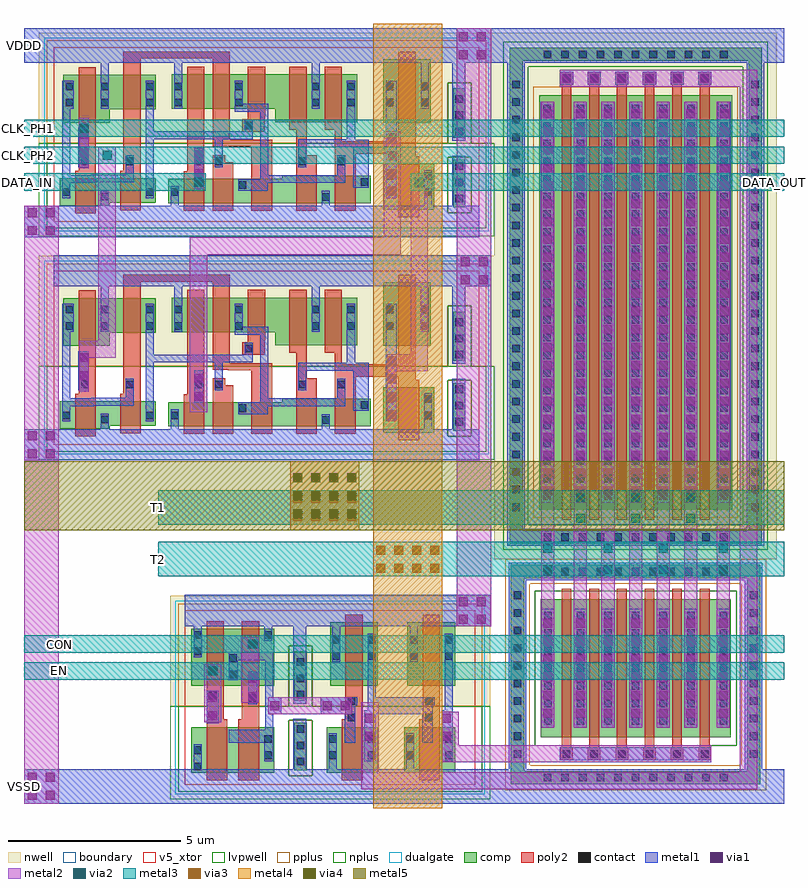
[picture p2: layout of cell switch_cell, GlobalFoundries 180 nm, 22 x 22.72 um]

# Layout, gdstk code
import gdstk
lib = gdstk.Library(unit=1e-6, precision=5e-09)
def R(c, l, rs):  # rectangles x0, y0, x1, y1
    for r in rs: c.add(gdstk.rectangle(r[:2], r[2:], *l))
def A(c, l, x, y, w, h, nx, ny, dx, dy):  # array of equal rectangles
    R(c, l, [(x+i*dx, y+j*dy, x+i*dx+w, y+j*dy+h) for i in range(nx) for j in range(ny)])
def P(c, l, *ps):  # polygons
    for p in ps: c.add(gdstk.Polygon(p, *l))
boundary = (0, 0)
nwell = (21, 0)
comp = (22, 0)
poly2 = (30, 0)
pplus = (31, 0)
nplus = (32, 0)
contact = (33, 0)
metal1 = (34, 0)
via1 = (35, 0)
metal2 = (36, 0)
via2 = (38, 0)
via3 = (40, 0)
via4 = (41, 0)
metal3 = (42, 0)
metal4 = (46, 0)
dualgate = (55, 0)
metal5 = (81, 0)
v5_xtor = (112, 1)
lvpwell = (204, 0)

gf180mcu_fd_sc_mcu9t5v0_ = lib.new_cell('gf180mcu_fd_sc_mcu9t5v0__filltie')
R(gf180mcu_fd_sc_mcu9t5v0_, boundary, [(0,0,1.12,5.04)])
R(gf180mcu_fd_sc_mcu9t5v0_, nwell, [(-0.43,2.265,1.55,5.47)])
R(gf180mcu_fd_sc_mcu9t5v0_, comp, [(0.36,0.41,0.72,1.785), (0.36,2.425,0.72,3.855)])
R(gf180mcu_fd_sc_mcu9t5v0_, pplus, [(0.2,0.25,0.88,1.865)])
P(gf180mcu_fd_sc_mcu9t5v0_, pplus, [(-0.2,2.265),(-0.2,5.24),(1.32,5.24),(1.32,2.265),(0.88,2.265),(0.88,4.015),(0.2,4.015),(0.2,2.265)])
P(gf180mcu_fd_sc_mcu9t5v0_, nplus, [(-0.2,-0.2),(-0.2,2.265),(0.2,2.265),(0.2,4.015),(0.88,4.015),(0.88,1.865),(0.2,1.865),(0.2,0.25),(0.88,0.25),(0.88,4.015),(0.88,2.265),(1.32,2.265),(1.32,-0.2)])
A(gf180mcu_fd_sc_mcu9t5v0_, contact, 0.43, 0.555, 0.22, 0.22, 1, 3, 0, 0.47)
A(gf180mcu_fd_sc_mcu9t5v0_, contact, 0.43, 2.495, 0.22, 0.22, 1, 3, 0, 0.47)
P(gf180mcu_fd_sc_mcu9t5v0_, metal1, [(0,-0.45),(0,0.45),(0.33,0.45),(0.33,1.91),(0.71,1.91),(0.71,0.45),(1.12,0.45),(1.12,-0.45)],
  [(0.33,2.34),(0.33,4.59),(0,4.59),(0,5.49),(1.12,5.49),(1.12,4.59),(0.71,4.59),(0.71,2.34)])
R(gf180mcu_fd_sc_mcu9t5v0_, dualgate, [(-0.28,-0.28,1.4,5.32)])
R(gf180mcu_fd_sc_mcu9t5v0_, v5_xtor, [(0,0,1.12,5.04)])
R(gf180mcu_fd_sc_mcu9t5v0_, lvpwell, [(-0.43,-0.43,1.55,2.265)])
gf180mcu_fd_sc_mcu9t5v0_.add(gdstk.Label('VSS', (0.56,-0.45), layer=34, texttype=10))
gf180mcu_fd_sc_mcu9t5v0_.add(gdstk.Label('VDD', (0.56,5.49), layer=34, texttype=10))
gf180mcu_fd_sc_mcu9t5v0_.add(gdstk.Label('& Vendor GLOBALFOUNDRIES', (0,2), layer=63, texttype=63))
gf180mcu_fd_sc_mcu9t5v0_.add(gdstk.Label('& Product GF018hv5v_green_sc9', (0,1.5), layer=63, texttype=63))
gf180mcu_fd_sc_mcu9t5v0_.add(gdstk.Label('& Version 2015q2v2', (0,1), layer=63, texttype=63))
gf180mcu_fd_sc_mcu9t5v0_.add(gdstk.Label('& Metric 1.00', (0,0.5), layer=63, texttype=63))

c_gf180mcu_fd_sc_mcu9t5v0_ = lib.new_cell('gf180mcu_fd_sc_mcu9t5v0__inv_1')
R(c_gf180mcu_fd_sc_mcu9t5v0_, boundary, [(0,0,2.24,5.04)])
R(c_gf180mcu_fd_sc_mcu9t5v0_, nwell, [(-0.43,2.265,2.67,5.47)])
R(c_gf180mcu_fd_sc_mcu9t5v0_, comp, [(0.18,0.345,1.66,1.665), (0.28,2.865,1.66,4.695)])
P(c_gf180mcu_fd_sc_mcu9t5v0_, poly2, [(0.62,0.125),(0.62,1.885),(0.72,1.885),(0.72,4.915),(1.22,4.915),(1.22,0.125)])
R(c_gf180mcu_fd_sc_mcu9t5v0_, pplus, [(-0.2,2.265,2.44,5.24)])
R(c_gf180mcu_fd_sc_mcu9t5v0_, nplus, [(-0.2,-0.2,2.44,2.265)])
R(c_gf180mcu_fd_sc_mcu9t5v0_, contact, [(0.25,0.74,0.47,0.96), (1.37,0.74,1.59,0.96), (0.25,1.21,0.47,1.43), (1.37,1.21,1.59,1.43), (0.79,1.835,1.01,2.055), (0.79,2.305,1.01,2.525), (0.35,3.61,0.57,3.83), (1.37,3.61,1.59,3.83), (0.35,4.08,0.57,4.3), (1.37,4.08,1.59,4.3)])
P(c_gf180mcu_fd_sc_mcu9t5v0_, metal1, [(0.71,1.21),(0.71,2.53),(1.07,2.53),(1.07,2.3),(1.015,2.3),(1.015,1.21)],
  [(1.27,0.68),(1.27,2.15),(1.365,2.15),(1.365,4.36),(1.595,4.36),(1.595,0.68)],
  [(0,-0.45),(0,0.45),(0.245,0.45),(0.245,1.49),(0.475,1.49),(0.475,0.45),(2.24,0.45),(2.24,-0.45)],
  [(0.345,3.55),(0.345,4.59),(0,4.59),(0,5.49),(2.24,5.49),(2.24,4.59),(0.575,4.59),(0.575,3.55)])
R(c_gf180mcu_fd_sc_mcu9t5v0_, dualgate, [(-0.28,-0.28,2.52,5.32)])
R(c_gf180mcu_fd_sc_mcu9t5v0_, v5_xtor, [(0,0,2.24,5.04)])
R(c_gf180mcu_fd_sc_mcu9t5v0_, lvpwell, [(-0.43,-0.43,2.67,2.265)])
c_gf180mcu_fd_sc_mcu9t5v0_.add(gdstk.Label('I', (0.84,1.96), layer=34, texttype=10))
c_gf180mcu_fd_sc_mcu9t5v0_.add(gdstk.Label('VDD', (1.12,5.49), layer=34, texttype=10))
c_gf180mcu_fd_sc_mcu9t5v0_.add(gdstk.Label('VSS', (1.12,-0.45), layer=34, texttype=10))
c_gf180mcu_fd_sc_mcu9t5v0_.add(gdstk.Label('ZN', (1.4,1.96), layer=34, texttype=10))
c_gf180mcu_fd_sc_mcu9t5v0_.add(gdstk.Label('& Vendor GLOBALFOUNDRIES', (0,2), layer=63, texttype=63))
c_gf180mcu_fd_sc_mcu9t5v0_.add(gdstk.Label('& Product GF018hv5v_green_sc9', (0,1.5), layer=63, texttype=63))
c_gf180mcu_fd_sc_mcu9t5v0_.add(gdstk.Label('& Version 2015q2v2', (0,1), layer=63, texttype=63))
c_gf180mcu_fd_sc_mcu9t5v0_.add(gdstk.Label('& Metric 1.00', (0,0.5), layer=63, texttype=63))
c_gf180mcu_fd_sc_mcu9t5v0_.add(gdstk.Label('VNW', (0.345,3.92), layer=21, texttype=10))
c_gf180mcu_fd_sc_mcu9t5v0_.add(gdstk.Label('VPW', (0.34,-0.085), layer=204, texttype=10))

c_gf180mcu_fd_sc_mcu9t5v0__ = lib.new_cell('gf180mcu_fd_sc_mcu9t5v0__nand2_1')
R(c_gf180mcu_fd_sc_mcu9t5v0__, boundary, [(0,0,2.8,5.04)])
R(c_gf180mcu_fd_sc_mcu9t5v0__, nwell, [(-0.43,2.265,3.23,5.47)])
R(c_gf180mcu_fd_sc_mcu9t5v0__, comp, [(0.185,0.345,2.585,1.665), (0.185,2.865,2.585,4.51)])
P(c_gf180mcu_fd_sc_mcu9t5v0__, poly2, [(0.625,0.125),(0.625,4.73),(1.125,4.73),(1.125,1.885),(1.225,1.885),(1.225,0.125)],
  [(1.545,0.125),(1.545,1.885),(1.645,1.885),(1.645,4.73),(2.145,4.73),(2.145,0.125)])
R(c_gf180mcu_fd_sc_mcu9t5v0__, pplus, [(-0.2,2.265,3,5.24)])
R(c_gf180mcu_fd_sc_mcu9t5v0__, nplus, [(-0.2,-0.2,3,2.265)])
R(c_gf180mcu_fd_sc_mcu9t5v0__, contact, [(0.255,0.415,0.475,0.635), (2.295,0.74,2.515,0.96), (0.255,0.885,0.475,1.105), (2.295,1.21,2.515,1.43), (1.835,2.39,2.055,2.61), (0.695,2.475,0.915,2.695), (1.275,3.08,1.495,3.3), (1.275,3.55,1.495,3.77), (0.255,3.75,0.475,3.97), (0.255,4.22,0.475,4.44), (2.295,4.22,2.515,4.44)])
R(c_gf180mcu_fd_sc_mcu9t5v0__, metal1, [(0.635,1.77,0.975,2.71), (1.83,2.33,2.09,3.27)])
P(c_gf180mcu_fd_sc_mcu9t5v0__, metal1, [(2.29,0.68),(2.29,1.21),(1.27,1.21),(1.27,1.59),(2.32,1.59),(2.32,3.6),(1.53,3.6),(1.53,3.02),(1.27,3.02),(1.27,3.83),(2.55,3.83),(2.55,0.68)],
  [(0,-0.45),(0,0.45),(0.25,0.45),(0.25,1.165),(0.48,1.165),(0.48,0.45),(2.8,0.45),(2.8,-0.45)],
  [(0.25,3.69),(0.25,4.59),(0,4.59),(0,5.49),(2.8,5.49),(2.8,4.59),(2.52,4.59),(2.52,4.16),(2.29,4.16),(2.29,4.59),(0.48,4.59),(0.48,3.69)])
R(c_gf180mcu_fd_sc_mcu9t5v0__, dualgate, [(-0.28,-0.28,3.08,5.32)])
R(c_gf180mcu_fd_sc_mcu9t5v0__, v5_xtor, [(0,0,2.8,5.04)])
R(c_gf180mcu_fd_sc_mcu9t5v0__, lvpwell, [(-0.43,-0.43,3.23,2.265)])
c_gf180mcu_fd_sc_mcu9t5v0__.add(gdstk.Label('A1', (1.96,2.52), layer=34, texttype=10))
c_gf180mcu_fd_sc_mcu9t5v0__.add(gdstk.Label('A2', (0.84,1.96), layer=34, texttype=10))
c_gf180mcu_fd_sc_mcu9t5v0__.add(gdstk.Label('VDD', (1.4,5.49), layer=34, texttype=10))
c_gf180mcu_fd_sc_mcu9t5v0__.add(gdstk.Label('VSS', (1.4,-0.45), layer=34, texttype=10))
c_gf180mcu_fd_sc_mcu9t5v0__.add(gdstk.Label('ZN', (1.96,1.4), layer=34, texttype=10))
c_gf180mcu_fd_sc_mcu9t5v0__.add(gdstk.Label('& Vendor GLOBALFOUNDRIES', (0,2), layer=63, texttype=63))
c_gf180mcu_fd_sc_mcu9t5v0__.add(gdstk.Label('& Product GF018hv5v_green_sc9', (0,1.5), layer=63, texttype=63))
c_gf180mcu_fd_sc_mcu9t5v0__.add(gdstk.Label('& Version 2015q2v2', (0,1), layer=63, texttype=63))
c_gf180mcu_fd_sc_mcu9t5v0__.add(gdstk.Label('& Metric 1.00', (0,0.5), layer=63, texttype=63))
c_gf180mcu_fd_sc_mcu9t5v0__.add(gdstk.Label('VNW', (0.345,3.92), layer=21, texttype=10))
c_gf180mcu_fd_sc_mcu9t5v0__.add(gdstk.Label('VPW', (0.34,-0.085), layer=204, texttype=10))

nfet = lib.new_cell('nfet')
R(nfet, comp, [(-0.42,0,0,4), (0,0,4.66,4), (4.66,0,5.08,4)])
P(nfet, comp, [(-1.28,-1.36),(-1.28,4.61),(-0.9,4.61),(-0.9,-0.98),(5.56,-0.98),(5.56,4.61),(-1.28,4.61),(-1.28,4.99),(5.94,4.99),(5.94,-1.36)])
A(nfet, poly2, 0.15, -0.66, 0.36, 0.36, 6, 1, 0.8, 0)
A(nfet, poly2, 0.19, -0.3, 0.28, 4.6, 6, 1, 0.8, 0)
P(nfet, pplus, [(-1.45,-1.53),(-1.45,4.44),(-0.73,4.44),(-0.73,-0.81),(5.39,-0.81),(5.39,4.44),(-1.45,4.44),(-1.45,5.16),(6.11,5.16),(6.11,-1.53)])
R(nfet, nplus, [(-0.59,-0.24,5.25,4.24)])
A(nfet, contact, -0.33, -1.28, 0.22, 0.22, 11, 2, 0.51, 5.97)
A(nfet, contact, -1.2, -0.59, 0.22, 0.22, 1, 10, 0, 0.51)
A(nfet, contact, 0.22, -0.59, 0.22, 0.22, 6, 1, 0.8, 0)
A(nfet, contact, 5.64, -0.59, 0.22, 0.22, 1, 10, 0, 0.51)
A(nfet, contact, -0.32, 0.36, 0.22, 0.22, 1, 7, 0, 0.51)
A(nfet, contact, 0.62, 0.36, 0.22, 0.22, 5, 7, 0.8, 0.51)
A(nfet, contact, 4.76, 0.36, 0.22, 0.22, 1, 7, 0, 0.51)
A(nfet, metal1, 0.14, -0.67, 0.38, 0.38, 6, 1, 0.8, 0)
A(nfet, metal1, 0.54, 0.28, 0.38, 3.44, 5, 1, 0.8, 0)
R(nfet, metal1, [(-0.4,0.28,-0.02,3.72), (4.68,0.28,5.06,3.72)])

pfet = lib.new_cell('pfet')
R(pfet, nwell, [(-1.76,-1.43,6.42,13.81)])
R(pfet, comp, [(-0.46,0,0,12), (0,0,4.66,12), (4.66,0,5.12,12)])
P(pfet, comp, [(-1.32,-0.99),(-1.32,12.99),(-0.94,12.99),(-0.94,-0.61),(5.6,-0.61),(5.6,12.99),(-1.32,12.99),(-1.32,13.37),(5.98,13.37),(5.98,-0.99)])
A(pfet, poly2, 0.19, -0.3, 0.28, 12.6, 6, 1, 0.8, 0)
A(pfet, poly2, 0.14, 12.3, 0.38, 0.38, 6, 1, 0.8, 0)
R(pfet, pplus, [(-0.63,-0.24,5.29,12.24)])
A(pfet, contact, -0.33, -0.91, 0.22, 0.22, 11, 2, 0.51, 13.98)
A(pfet, contact, -1.24, -0.04, 0.22, 0.22, 1, 25, 0, 0.51)
A(pfet, contact, 5.68, -0.04, 0.22, 0.22, 1, 25, 0, 0.51)
A(pfet, contact, -0.34, 0.28, 0.22, 0.22, 1, 23, 0, 0.51)
A(pfet, contact, 0.62, 0.28, 0.22, 0.22, 5, 23, 0.8, 0.51)
A(pfet, contact, 4.78, 0.28, 0.22, 0.22, 1, 23, 0, 0.51)
A(pfet, contact, 0.22, 12.38, 0.22, 0.22, 6, 1, 0.8, 0)
A(pfet, metal1, 0.54, 0.2, 0.38, 11.6, 5, 1, 0.8, 0)
A(pfet, metal1, 0.14, 12.3, 0.38, 0.38, 6, 1, 0.8, 0)
R(pfet, metal1, [(-0.42,0.2,-0.04,11.8), (4.7,0.2,5.08,11.8)])

switch_cell_tgate = lib.new_cell('switch_cell_tgate')
A(switch_cell_tgate, via1, 4.52, -4.1, 0.26, 0.26, 1, 6, 0, 0.52)
A(switch_cell_tgate, via1, 5.46, -4.1, 0.26, 0.26, 5, 6, 0.8, 0.52)
A(switch_cell_tgate, via1, 9.6, -4.1, 0.26, 0.26, 1, 6, 0, 0.52)
A(switch_cell_tgate, via1, 4.52, 2.33, 0.26, 0.26, 1, 22, 0, 0.52)
A(switch_cell_tgate, via1, 5.46, 2.33, 0.26, 0.26, 5, 22, 0.8, 0.52)
A(switch_cell_tgate, via1, 9.62, 2.33, 0.26, 0.26, 1, 22, 0, 0.52)
A(switch_cell_tgate, via1, 5.06, 14.28, 0.26, 0.26, 6, 1, 0.8, 0)
R(switch_cell_tgate, via1, [(-0.63,-4.77,-0.37,-4.51), (1.575,-4.77,1.835,-4.51), (-0.63,-4.25,-0.37,-3.99), (1.575,-4.25,1.835,-3.99), (-5.18,-4.17,-4.92,-3.91), (-3.385,-3.89,-3.125,-3.63), (-1.87,-3.89,-1.61,-3.63), (-1.35,-3.89,-1.09,-3.63), (-5.18,-3.65,-4.92,-3.39), (-4.025,-3.61,-3.765,-3.35), (-4.025,-3.09,-3.765,-2.83), (2.075,-1.39,2.335,-1.13), (2.595,-1.39,2.855,-1.13), (2.075,-0.87,2.335,-0.61), (2.595,-0.87,2.855,-0.61), (2.075,14.96,2.335,15.22), (2.595,14.96,2.855,15.22), (2.075,15.48,2.335,15.74), (2.595,15.48,2.855,15.74)])
R(switch_cell_tgate, via2, [(-5.18,-2.88,-4.92,-2.62), (-4.02,-2.1,-3.76,-1.84), (4.52,0.045,4.78,0.305), (6.26,0.045,6.52,0.305), (7.86,0.045,8.12,0.305), (9.6,0.045,9.86,0.305), (4.52,0.665,4.78,0.925), (6.26,0.665,6.52,0.925), (7.86,0.665,8.12,0.925), (9.6,0.665,9.86,0.925), (5.465,1.535,5.725,1.795), (7.06,1.535,7.32,1.795), (8.66,1.535,8.92,1.795), (5.465,2.155,5.725,2.415), (7.06,2.155,7.32,2.415), (8.66,2.155,8.92,2.415)])
switch_cell_tgate.add(gdstk.FlexPath([(3.36,15.1),(10.65,15.1),(10.65,1.12),(3.72,1.12),(3.72,14.74)], 0.72, ends="flush", simple_path=True, layer=32, datatype=0))  # nplus
switch_cell_tgate.add(gdstk.FlexPath([(3.015,-1),(-5.855,-1)], 0.9, ends="flush", simple_path=True, layer=34, datatype=0))  # metal1
switch_cell_tgate.add(gdstk.FlexPath([(3.015,-6.09),(-5.855,-6.09)], 1, ends="flush", simple_path=True, layer=34, datatype=0))  # metal1
switch_cell_tgate.add(gdstk.FlexPath([(-3.305,-3.76),(-3.065,-3.76)], 0.5, ends="flush", simple_path=True, layer=34, datatype=0))  # metal1
switch_cell_tgate.add(gdstk.FlexPath([(-0.34,-3.76),(1.015,-3.76)], 0.5, ends="flush", simple_path=True, layer=34, datatype=0))  # metal1
switch_cell_tgate.add(gdstk.FlexPath([(-1.93,-3.76),(-1.225,-3.76)], 0.5, ends="flush", simple_path=True, layer=34, datatype=0))  # metal1
switch_cell_tgate.add(gdstk.FlexPath([(11.485,15.35),(-5.855,15.35)], 1, ends="flush", simple_path=True, layer=34, datatype=0))  # metal1
switch_cell_tgate.add(gdstk.FlexPath([(11.485,-6.09),(3.015,-6.09)], 1, ends="flush", simple_path=True, layer=34, datatype=0))  # metal1
switch_cell_tgate.add(gdstk.FlexPath([(5,-5.15),(9.38,-5.15)], 0.38, ends="flush", simple_path=True, layer=34, datatype=0))  # metal1
switch_cell_tgate.add(gdstk.FlexPath([(3.48,15.1),(10.66,15.1),(10.66,1.12),(3.73,1.12),(3.73,14.85)], 0.5, ends="flush", simple_path=True, layer=34, datatype=0))  # metal1
switch_cell_tgate.add(gdstk.FlexPath([(3.52,0.13),(10.6,0.13),(10.6,-5.84),(3.77,-5.84),(3.77,-0.12)], 0.5, ends="flush", simple_path=True, layer=34, datatype=0))  # metal1
switch_cell_tgate.add(gdstk.FlexPath([(-5.05,-4.23),(-5.05,-2.56)], 0.5, ends="flush", simple_path=True, layer=36, datatype=0))  # metal2
switch_cell_tgate.add(gdstk.FlexPath([(-3.975,-3.67),(-3.975,-1.78)], 0.5, ends="flush", simple_path=True, layer=36, datatype=0))  # metal2
switch_cell_tgate.add(gdstk.FlexPath([(-1.03,-3.76),(-3.445,-3.76)], 0.5, ends="flush", simple_path=True, layer=36, datatype=0))  # metal2
switch_cell_tgate.add(gdstk.FlexPath([(-0.5,-5.68),(-0.5,-3.65)], 0.5, ends="flush", simple_path=True, layer=36, datatype=0))  # metal2
switch_cell_tgate.add(gdstk.FlexPath([(1.825,-4.9),(1.825,-3.93)], 0.5, ends="flush", simple_path=True, layer=36, datatype=0))  # metal2
switch_cell_tgate.add(gdstk.FlexPath([(9.38,-5.15),(1.575,-5.15)], 0.5, ends="flush", simple_path=True, layer=36, datatype=0))  # metal2
switch_cell_tgate.add(gdstk.FlexPath([(10.705,-5.93),(-0.75,-5.93)], 0.5, ends="flush", simple_path=True, layer=36, datatype=0))  # metal2
switch_cell_tgate.add(gdstk.FlexPath([(10.455,-5.68),(10.455,14.16)], 0.5, ends="flush", simple_path=True, layer=36, datatype=0))  # metal2
switch_cell_tgate.add(gdstk.FlexPath([(10.705,14.41),(5,14.41)], 0.5, ends="flush", simple_path=True, layer=36, datatype=0))  # metal2
switch_cell_tgate.add(gdstk.FlexPath([(2.515,-1.45),(2.515,15.85)], 1, ends="flush", simple_path=True, layer=36, datatype=0))  # metal2
switch_cell_tgate.add(gdstk.FlexPath([(9.73,-4.39),(9.73,13.72)], 0.38, ends="flush", simple_path=True, layer=36, datatype=0))  # metal2
switch_cell_tgate.add(gdstk.FlexPath([(8.79,-4.39),(8.79,13.72)], 0.38, ends="flush", simple_path=True, layer=36, datatype=0))  # metal2
switch_cell_tgate.add(gdstk.FlexPath([(7.99,-4.39),(7.99,13.72)], 0.38, ends="flush", simple_path=True, layer=36, datatype=0))  # metal2
switch_cell_tgate.add(gdstk.FlexPath([(7.19,-4.39),(7.19,13.72)], 0.38, ends="flush", simple_path=True, layer=36, datatype=0))  # metal2
switch_cell_tgate.add(gdstk.FlexPath([(6.39,-4.39),(6.39,13.72)], 0.38, ends="flush", simple_path=True, layer=36, datatype=0))  # metal2
switch_cell_tgate.add(gdstk.FlexPath([(5.59,-4.39),(5.59,13.72)], 0.38, ends="flush", simple_path=True, layer=36, datatype=0))  # metal2
switch_cell_tgate.add(gdstk.FlexPath([(4.65,-4.39),(4.65,13.72)], 0.38, ends="flush", simple_path=True, layer=36, datatype=0))  # metal2
switch_cell_tgate.add(gdstk.FlexPath([(11.485,0.485),(-5.855,0.485)], 1, ends="flush", simple_path=True, layer=42, datatype=0))  # metal3
switch_cell_tgate.add(gdstk.FlexPath([(11.485,1.975),(-5.855,1.975)], 1, ends="flush", simple_path=True, layer=42, datatype=0))  # metal3
switch_cell_tgate.add(gdstk.FlexPath([(11.485,-1.97),(-5.855,-1.97)], 0.5, ends="flush", simple_path=True, layer=42, datatype=0))  # metal3
switch_cell_tgate.add(gdstk.FlexPath([(11.485,-2.75),(-5.855,-2.75)], 0.5, ends="flush", simple_path=True, layer=42, datatype=0))  # metal3
switch_cell_tgate.add(gdstk.Reference(gf180mcu_fd_sc_mcu9t5v0_, (-3.055,-6.04)))
switch_cell_tgate.add(gdstk.Reference(c_gf180mcu_fd_sc_mcu9t5v0_, (0.305,-6.04)))
switch_cell_tgate.add(gdstk.Reference(c_gf180mcu_fd_sc_mcu9t5v0_, (-1.935,-6.04)))
switch_cell_tgate.add(gdstk.Reference(c_gf180mcu_fd_sc_mcu9t5v0__, (-5.855,-6.04)))
switch_cell_tgate.add(gdstk.Reference(nfet, (4.86,-4.67)))
switch_cell_tgate.add(gdstk.Reference(pfet, (4.86,1.92)))
switch_cell_tgate.add(gdstk.Label('VSSD', (-5.84,-6.475), layer=34, texttype=10))
switch_cell_tgate.add(gdstk.Label('VDDD', (-5.84,15.835), layer=34, texttype=10))
switch_cell_tgate.add(gdstk.Label('VSSD', (3.03,-6.575), layer=34, texttype=10))
switch_cell_tgate.add(gdstk.Label('VDDD', (3.04,15.835), layer=34, texttype=10))
switch_cell_tgate.add(gdstk.Label('CON', (-5.84,-1.97), layer=42, texttype=10))
switch_cell_tgate.add(gdstk.Label('EN', (-5.84,-2.75), layer=42, texttype=10))
switch_cell_tgate.add(gdstk.Label('T1', (-5.84,1.975), layer=42, texttype=10))
switch_cell_tgate.add(gdstk.Label('T2', (-5.84,0.485), layer=42, texttype=10))

c_gf180mcu_fd_sc_mcu9t5v0___ = lib.new_cell('gf180mcu_fd_sc_mcu9t5v0__latq_1')
R(c_gf180mcu_fd_sc_mcu9t5v0___, boundary, [(0,0,11.2,5.04)])
R(c_gf180mcu_fd_sc_mcu9t5v0___, nwell, [(-0.43,2.265,11.63,5.47)])
R(c_gf180mcu_fd_sc_mcu9t5v0___, comp, [(9.54,0.345,11.02,1.665), (9.54,2.865,10.92,4.695)])
P(c_gf180mcu_fd_sc_mcu9t5v0___, comp, [(0.18,0.46),(0.18,1.25),(2.96,1.25),(2.96,0.55),(1.62,0.55),(1.62,0.46)],
  [(0.28,2.865),(0.28,4.245),(2.96,4.245),(2.96,3.245),(1.62,3.245),(1.62,2.865)],
  [(6.42,2.88),(6.42,3.26),(3.42,3.26),(3.42,4.26),(8.78,4.26),(8.78,2.88)],
  [(3.32,0.535),(3.32,1.235),(6.62,1.235),(6.62,1.325),(9.18,1.325),(9.18,0.535)])
P(c_gf180mcu_fd_sc_mcu9t5v0___, poly2, [(0.62,0.24),(0.62,1.47),(0.72,1.47),(0.72,4.465),(1.22,4.465),(1.22,0.24)],
  [(3.76,0.315),(3.76,1.455),(3.86,1.455),(3.86,4.48),(4.36,4.48),(4.36,0.315)],
  [(4.6,0.315),(4.6,1.925),(4.96,1.925),(4.96,1.715),(5.2,1.715),(5.2,0.315)],
  [(5.46,2.6),(5.46,2.96),(5.62,2.96),(5.62,4.48),(6.12,4.48),(6.12,3.04),(6.115,3.04),(6.115,2.6)],
  [(5.72,0.315),(5.72,2.16),(5.055,2.16),(5.055,2.165),(4.6,2.165),(4.6,4.72),(2.52,4.72),(2.52,0.33),(1.92,0.33),(1.92,1.47),(2.02,1.47),(2.02,4.92),(5.1,4.92),(5.1,2.36),(6.32,2.36),(6.32,0.315)],
  [(7.02,0.315),(7.02,2.66),(6.82,2.66),(6.82,4.48),(7.32,4.48),(7.32,1.925),(7.62,1.925),(7.62,0.315)],
  [(9.98,0.125),(9.98,1.965),(8.74,1.965),(8.74,0.315),(8.14,0.315),(8.14,2.66),(7.84,2.66),(7.84,4.48),(8.34,4.48),(8.34,2.325),(9.98,2.325),(9.98,4.915),(10.48,4.915),(10.48,1.885),(10.58,1.885),(10.58,0.125)])
R(c_gf180mcu_fd_sc_mcu9t5v0___, pplus, [(-0.2,2.265,11.4,5.24)])
R(c_gf180mcu_fd_sc_mcu9t5v0___, nplus, [(-0.2,-0.2,11.4,2.265)])
R(c_gf180mcu_fd_sc_mcu9t5v0___, contact, [(7.77,0.605,7.99,0.825), (1.37,0.615,1.59,0.835), (0.25,0.74,0.47,0.96), (2.67,0.74,2.89,0.96), (3.39,0.74,3.61,0.96), (9.61,0.74,9.83,0.96), (10.73,0.74,10.95,0.96), (5.35,0.945,5.57,1.165), (8.89,1.035,9.11,1.255), (9.61,1.21,9.83,1.43), (10.73,1.21,10.95,1.43), (0.79,1.635,1.01,1.855), (2.09,1.635,2.31,1.855), (4.07,1.635,4.29,1.855), (4.67,1.635,4.89,1.855), (7.09,1.635,7.31,1.855), (8.21,1.635,8.43,1.855), (5.53,2.67,5.75,2.89), (0.35,3.33,0.57,3.55), (1.37,3.33,1.59,3.55), (2.67,3.33,2.89,3.55), (3.49,3.33,3.71,3.55), (5.25,3.33,5.47,3.55), (7.47,3.33,7.69,3.55), (8.49,3.33,8.71,3.55), (9.61,3.33,9.83,3.55), (10.63,3.33,10.85,3.55), (0.35,3.8,0.57,4.02), (1.37,3.8,1.59,4.02), (2.67,3.8,2.89,4.02), (3.49,3.8,3.71,4.02), (5.25,3.8,5.47,4.02), (7.47,3.8,7.69,4.02), (8.49,3.8,8.71,4.02), (9.61,3.8,9.83,4.02), (10.63,3.8,10.85,4.02)])
R(c_gf180mcu_fd_sc_mcu9t5v0___, metal1, [(9.605,0.68,9.93,4.08), (4.065,1.21,4.33,2.15), (0.71,1.575,1.015,2.71)])
P(c_gf180mcu_fd_sc_mcu9t5v0___, metal1, [(0.245,0.68),(0.245,4.08),(0.575,4.08),(0.575,3.27),(0.475,3.27),(0.475,1.345),(1.085,1.345),(1.085,1.355),(2.085,1.355),(2.085,1.915),(2.315,1.915),(2.315,1.125),(1.155,1.125),(1.155,1.115),(0.475,1.115),(0.475,0.68)],
  [(2.665,0.68),(2.665,4.08),(2.895,4.08),(2.895,2.61),(5.525,2.61),(5.525,2.95),(5.755,2.95),(5.755,2.38),(4.895,2.38),(4.895,1.575),(4.665,1.575),(4.665,2.38),(2.895,2.38),(2.895,0.68)],
  [(5.345,0.885),(5.345,1.225),(5.985,1.225),(5.985,3.18),(5.245,3.18),(5.245,4.08),(5.475,4.08),(5.475,3.41),(6.215,3.41),(6.215,1.345),(8.205,1.345),(8.205,1.915),(8.435,1.915),(8.435,1.115),(6.19,1.115),(6.19,0.885)],
  [(8.665,0.975),(8.665,2.145),(7.315,2.145),(7.315,1.575),(7.085,1.575),(7.085,2.375),(8.485,2.375),(8.485,4.08),(8.735,4.08),(8.735,2.365),(9.115,2.365),(9.115,0.975)],
  [(0,-0.45),(0,0.45),(1.365,0.45),(1.365,0.895),(1.595,0.895),(1.595,0.45),(3.385,0.45),(3.385,1.02),(3.615,1.02),(3.615,0.45),(7.765,0.45),(7.765,0.885),(7.995,0.885),(7.995,0.45),(10.725,0.45),(10.725,1.49),(10.955,1.49),(10.955,0.45),(11.2,0.45),(11.2,-0.45)],
  [(1.365,3.27),(1.365,4.59),(0,4.59),(0,5.49),(11.2,5.49),(11.2,4.59),(10.855,4.59),(10.855,3.27),(10.625,3.27),(10.625,4.59),(7.695,4.59),(7.695,3.27),(7.465,3.27),(7.465,4.59),(3.715,4.59),(3.715,3.27),(3.485,3.27),(3.485,4.59),(1.595,4.59),(1.595,3.27)])
R(c_gf180mcu_fd_sc_mcu9t5v0___, dualgate, [(-0.28,-0.28,11.48,5.32)])
R(c_gf180mcu_fd_sc_mcu9t5v0___, v5_xtor, [(0,0,11.2,5.04)])
R(c_gf180mcu_fd_sc_mcu9t5v0___, lvpwell, [(-0.43,-0.43,11.63,2.265)])
c_gf180mcu_fd_sc_mcu9t5v0___.add(gdstk.Label('D', (4.2,1.4), layer=34, texttype=10))
c_gf180mcu_fd_sc_mcu9t5v0___.add(gdstk.Label('E', (0.84,1.96), layer=34, texttype=10))
c_gf180mcu_fd_sc_mcu9t5v0___.add(gdstk.Label('Q', (9.8,2.52), layer=34, texttype=10))
c_gf180mcu_fd_sc_mcu9t5v0___.add(gdstk.Label('VDD', (5.6,5.49), layer=34, texttype=10))
c_gf180mcu_fd_sc_mcu9t5v0___.add(gdstk.Label('VSS', (5.6,-0.45), layer=34, texttype=10))
c_gf180mcu_fd_sc_mcu9t5v0___.add(gdstk.Label('& Vendor GLOBALFOUNDRIES', (0,2), layer=63, texttype=63))
c_gf180mcu_fd_sc_mcu9t5v0___.add(gdstk.Label('& Product GF018hv5v_green_sc9', (0,1.5), layer=63, texttype=63))
c_gf180mcu_fd_sc_mcu9t5v0___.add(gdstk.Label('& Version 2015q2v2', (0,1), layer=63, texttype=63))
c_gf180mcu_fd_sc_mcu9t5v0___.add(gdstk.Label('& Metric 1.00', (0,0.5), layer=63, texttype=63))
c_gf180mcu_fd_sc_mcu9t5v0___.add(gdstk.Label('VNW', (0.345,3.92), layer=21, texttype=10))
c_gf180mcu_fd_sc_mcu9t5v0___.add(gdstk.Label('VPW', (0.34,-0.085), layer=204, texttype=10))

switch_cell_dff_2ph_clk = lib.new_cell('switch_cell_dff_2ph_clk')
R(switch_cell_dff_2ph_clk, metal1, [(-11.2,-5.49,1.12,-4.59), (-11.2,-0.45,1.12,0.45)])
A(switch_cell_dff_2ph_clk, via1, -1.53, -10.76, 0.26, 0.26, 1, 4, 0, 0.52)
A(switch_cell_dff_2ph_clk, via1, -1.53, -4.3, 0.26, 0.26, 1, 4, 0, 0.52)
R(switch_cell_dff_2ph_clk, via1, [(-7.135,-10.23,-6.875,-9.97), (-7.135,-9.71,-6.875,-9.45), (-10.445,-9.635,-10.185,-9.375), (-10.445,-9.115,-10.185,-8.855), (-7.135,-3.77,-6.875,-3.51), (-7.135,-3.25,-6.875,-2.99), (-10.445,-3.175,-10.185,-2.915), (-10.445,-2.655,-10.185,-2.395)])
R(switch_cell_dff_2ph_clk, metal2, [(-1.55,-10.82,-1.27,-8.88), (-7.135,-10.56,-6.855,-9.385), (-10.465,-9.965,-10.185,-8.49), (-7.135,-4.1,-6.855,-2.925), (-10.465,-3.505,-10.185,-2.03)])
R(switch_cell_dff_2ph_clk, via2, [(-7.135,-4.03,-6.875,-3.77), (-0.75,-4.03,-0.49,-3.77), (-9.785,-3.25,-9.525,-2.99), (-10.445,-2.47,-10.185,-2.21)])
switch_cell_dff_2ph_clk.add(gdstk.FlexPath([(-0.62,-3.65),(-0.62,-8.88)], 0.5, ends="flush", simple_path=True, layer=36, datatype=0))  # metal2
switch_cell_dff_2ph_clk.add(gdstk.FlexPath([(-1.27,-9.13),(-0.37,-9.13)], 0.5, ends="flush", simple_path=True, layer=36, datatype=0))  # metal2
switch_cell_dff_2ph_clk.add(gdstk.FlexPath([(-7.255,-5.75),(-1.15,-5.75)], 0.5, ends="flush", simple_path=True, layer=36, datatype=0))  # metal2
switch_cell_dff_2ph_clk.add(gdstk.FlexPath([(-9.655,-2.87),(-9.655,-8.99)], 0.5, ends="flush", simple_path=True, layer=36, datatype=0))  # metal2
switch_cell_dff_2ph_clk.add(gdstk.FlexPath([(-10.185,-8.74),(-9.905,-8.74)], 0.5, ends="flush", simple_path=True, layer=36, datatype=0))  # metal2
switch_cell_dff_2ph_clk.add(gdstk.FlexPath([(-1.4,-2.42),(-1.4,-5.5)], 0.5, ends="flush", simple_path=True, layer=36, datatype=0))  # metal2
switch_cell_dff_2ph_clk.add(gdstk.FlexPath([(-7.005,-6),(-7.005,-10.56)], 0.5, ends="flush", simple_path=True, layer=36, datatype=0))  # metal2
switch_cell_dff_2ph_clk.add(gdstk.FlexPath([(-11.205,-3.9),(-6.795,-3.9)], 0.5, ends="flush", simple_path=True, layer=42, datatype=0))  # metal3
switch_cell_dff_2ph_clk.add(gdstk.FlexPath([(-0.87,-3.9),(1.12,-3.9)], 0.5, ends="flush", simple_path=True, layer=42, datatype=0))  # metal3
switch_cell_dff_2ph_clk.add(gdstk.FlexPath([(-11.205,-3.12),(1.12,-3.12)], 0.5, ends="flush", simple_path=True, layer=42, datatype=0))  # metal3
switch_cell_dff_2ph_clk.add(gdstk.FlexPath([(-11.205,-2.34),(1.12,-2.34)], 0.5, ends="flush", simple_path=True, layer=42, datatype=0))  # metal3
switch_cell_dff_2ph_clk.add(gdstk.Reference(c_gf180mcu_fd_sc_mcu9t5v0___, (-11.2,-5.04)))
switch_cell_dff_2ph_clk.add(gdstk.Reference(gf180mcu_fd_sc_mcu9t5v0_, (0,-5.04)))
switch_cell_dff_2ph_clk.add(gdstk.Reference(c_gf180mcu_fd_sc_mcu9t5v0___, (-11.2,-11.5)))
switch_cell_dff_2ph_clk.add(gdstk.Reference(gf180mcu_fd_sc_mcu9t5v0_, (0,-11.5)))
switch_cell_dff_2ph_clk.add(gdstk.Label('VSSD', (-11.185,-11.945), layer=34, texttype=10))
switch_cell_dff_2ph_clk.add(gdstk.Label('VDDD', (-11.185,-6.025), layer=34, texttype=10))
switch_cell_dff_2ph_clk.add(gdstk.Label('VSSD', (-11.19,-5.48), layer=34, texttype=10))
switch_cell_dff_2ph_clk.add(gdstk.Label('VDDD', (-11.19,0.44), layer=34, texttype=10))
switch_cell_dff_2ph_clk.add(gdstk.Label('Q', (1.105,-3.9), layer=42, texttype=10))
switch_cell_dff_2ph_clk.add(gdstk.Label('CLK_PH1', (-11.195,-2.34), layer=42, texttype=10))
switch_cell_dff_2ph_clk.add(gdstk.Label('CLK_PH2', (-11.195,-3.12), layer=42, texttype=10))
switch_cell_dff_2ph_clk.add(gdstk.Label('D', (-11.195,-3.9), layer=42, texttype=10))

switch_cell = lib.new_cell('switch_cell')
R(switch_cell, via1, [(1.045,-17.65,1.305,-17.39), (1.565,-17.65,1.825,-17.39), (1.045,-17.13,1.305,-16.87), (1.565,-17.13,1.825,-16.87), (1.045,-7.76,1.305,-7.5), (1.565,-7.76,1.825,-7.5), (1.045,-7.24,1.305,-6.98), (1.565,-7.24,1.825,-6.98), (13.575,-2.72,13.835,-2.46), (14.095,-2.72,14.355,-2.46), (13.575,-2.2,13.835,-1.94), (14.095,-2.2,14.355,-1.94), (1.045,-1.3,1.305,-1.04), (1.565,-1.3,1.825,-1.04), (1.045,-0.78,1.305,-0.52), (1.565,-0.78,1.825,-0.52)])
A(switch_cell, via3, 11.13, -11.075, 0.26, 0.26, 4, 2, 0.52, 0.52)
A(switch_cell, via3, 8.73, -9.585, 0.26, 0.26, 4, 2, 0.52, 0.52)
A(switch_cell, via4, 8.73, -9.5, 0.26, 0.26, 4, 3, 0.52, 0.52)
switch_cell.add(gdstk.FlexPath([(0.935,-7.37),(14.115,-7.37)], 0.9, ends="flush", simple_path=True, layer=34, datatype=0))  # metal1
switch_cell.add(gdstk.FlexPath([(0.935,-0.91),(14.115,-0.91)], 0.9, ends="flush", simple_path=True, layer=34, datatype=0))  # metal1
switch_cell.add(gdstk.FlexPath([(1.795,-2.33),(14.465,-2.33)], 0.9, ends="flush", simple_path=True, layer=34, datatype=0))  # metal1
switch_cell.add(gdstk.FlexPath([(0.935,-17.26),(22.935,-17.26)], 1, ends="flush", simple_path=True, layer=34, datatype=0))  # metal1
switch_cell.add(gdstk.FlexPath([(0.935,4.18),(22.935,4.18)], 1, ends="flush", simple_path=True, layer=34, datatype=0))  # metal1
switch_cell.add(gdstk.FlexPath([(1.435,-0.46),(1.435,-17.76)], 1, ends="flush", simple_path=True, layer=36, datatype=0))  # metal2
switch_cell.add(gdstk.FlexPath([(12.125,0.23),(22.935,0.23)], 0.5, ends="flush", simple_path=True, layer=42, datatype=0))  # metal3
switch_cell.add(gdstk.FlexPath([(0.935,0.23),(6.2,0.23)], 0.5, ends="flush", simple_path=True, layer=42, datatype=0))  # metal3
switch_cell.add(gdstk.FlexPath([(0.935,1.01),(22.935,1.01)], 0.5, ends="flush", simple_path=True, layer=42, datatype=0))  # metal3
switch_cell.add(gdstk.FlexPath([(0.935,1.79),(22.935,1.79)], 0.5, ends="flush", simple_path=True, layer=42, datatype=0))  # metal3
switch_cell.add(gdstk.FlexPath([(0.935,-13.92),(22.935,-13.92)], 0.5, ends="flush", simple_path=True, layer=42, datatype=0))  # metal3
switch_cell.add(gdstk.FlexPath([(0.935,-13.14),(22.935,-13.14)], 0.5, ends="flush", simple_path=True, layer=42, datatype=0))  # metal3
switch_cell.add(gdstk.FlexPath([(4.82,-9.195),(22.935,-9.195)], 1, ends="flush", simple_path=True, layer=42, datatype=0))  # metal3
switch_cell.add(gdstk.FlexPath([(4.82,-10.685),(22.935,-10.685)], 1, ends="flush", simple_path=True, layer=42, datatype=0))  # metal3
switch_cell.add(gdstk.FlexPath([(12.04,4.82),(12.04,-17.9)], 2, ends="flush", simple_path=True, layer=46, datatype=0))  # metal4
switch_cell.add(gdstk.FlexPath([(9.64,-7.85),(9.64,-9.85)], 2, ends="flush", simple_path=True, layer=46, datatype=0))  # metal4
switch_cell.add(gdstk.FlexPath([(0.935,-8.85),(22.935,-8.85)], 2, ends="flush", simple_path=True, layer=81, datatype=0))  # metal5
switch_cell.add(gdstk.Reference(switch_cell_tgate, (11.45,-11.17)))
switch_cell.add(gdstk.Reference(switch_cell_dff_2ph_clk, (12.995,4.13)))
switch_cell.add(gdstk.Label('VSSD', (0.95,-17.26), layer=34, texttype=10))
switch_cell.add(gdstk.Label('VDDD', (0.95,4.18), layer=34, texttype=10))
switch_cell.add(gdstk.Label('T2', (4.835,-10.685), layer=42, texttype=10))
switch_cell.add(gdstk.Label('DATA_OUT', (22.92,0.23), layer=42, texttype=10))
switch_cell.add(gdstk.Label('EN', (1.95,-13.92), layer=42, texttype=10))
switch_cell.add(gdstk.Label('CON', (1.95,-13.14), layer=42, texttype=10))
switch_cell.add(gdstk.Label('T1', (4.835,-9.195), layer=42, texttype=10))
switch_cell.add(gdstk.Label('DATA_IN', (0.95,0.23), layer=42, texttype=10))
switch_cell.add(gdstk.Label('CLK_PH2', (0.95,1.01), layer=42, texttype=10))
switch_cell.add(gdstk.Label('CLK_PH1', (0.95,1.79), layer=42, texttype=10))

lib.write_gds('switch_cell.gds')
